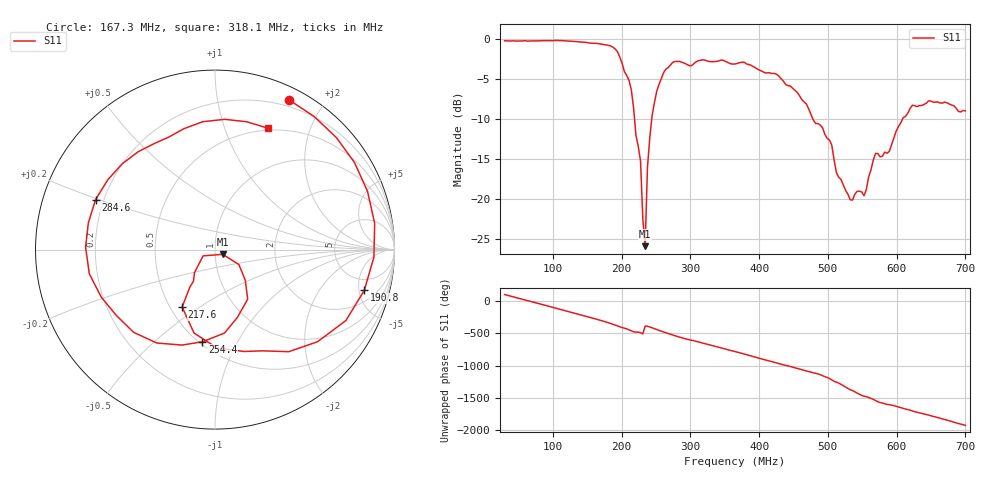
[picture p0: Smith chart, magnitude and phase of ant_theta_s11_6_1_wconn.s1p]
!Agilent Technologies,E8361C,US48110103,A.09.42.22
!Agilent E8361C: A.09.42.22
!Date: Monday, June 01, 2026 17:37:28
!Correction: S11(Full 2 Port(1,2))
!S1P File: Measurement: S11:
# Hz S  dB  R 50
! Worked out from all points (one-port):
!   201 points, 30 MHz to 700 MHz, reference 50 ohm
!   lowest |S11| = -25.9 dB at 234.3 MHz (marker M1), VSWR 1.11, Z = 54.5 - j2.89 ohm
!   |S11| at or under -10 dB: 218.9 MHz to 243.9 MHz (25.02 MHz wide, 10.8 % of centre); 478.1 MHz to 608.7 MHz (130.6 MHz wide, 24 % of centre)
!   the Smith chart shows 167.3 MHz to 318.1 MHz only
!   S11 on the Smith chart (normalised r, x): 167.3 MHz: 0.13, +1.61; 190.8 MHz: 3.22, -5.69; 217.6 MHz: 0.58, -0.43; 254.4 MHz: 0.52, -0.73; 284.6 MHz: 0.17, +0.20; 318.1 MHz: 0.48, +1.42
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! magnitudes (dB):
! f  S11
! 30 MHz  -0.3
! 113.8 MHz  -0.2
! 167.3 MHz  -0.6
! 190.8 MHz  -1.3
! 197.5 MHz  -2.3
! 210.9 MHz  -5.2
! 217.6 MHz  -8.7
! 220.9 MHz  -12.0
! 227.7 MHz  -15.3
! 231 MHz  -22.5
! 234.3 MHz  -25.9
! 237.7 MHz  -16.1
! 241.1 MHz  -12.4
! 254.4 MHz  -5.7
! 281.2 MHz  -2.8
! 284.6 MHz  -2.8
! 318.1 MHz  -2.6
! 365 MHz  -3.2
! 448.8 MHz  -6.2
! 502.4 MHz  -12.6
! 512.4 MHz  -16.7
! 532.5 MHz  -20.1
! 552.6 MHz  -19.6
! 569.4 MHz  -14.3
! 589.5 MHz  -14.0
! 616.2 MHz  -9.3
! 646.4 MHz  -7.8
! 700 MHz  -9.0
